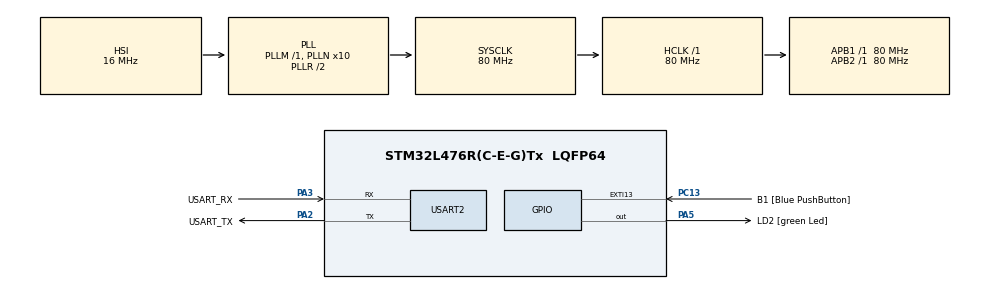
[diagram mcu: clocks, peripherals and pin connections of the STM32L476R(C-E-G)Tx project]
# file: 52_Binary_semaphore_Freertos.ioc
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FREERTOS.Tasks01=defaultTask,0,128,StartDefaultTask,Default,NULL,Dynamic,NULL,NULL
Mcu.Family=STM32L4
Mcu.Name=STM32L476R(C-E-G)Tx
Mcu.Package=LQFP64
NVIC.PriorityGroup=NVIC_PRIORITYGROUP_4
PA13\ (JTMS-SWDIO).GPIO_Label=TMS
PA13\ (JTMS-SWDIO).Mode=Serial_Wire
PA13\ (JTMS-SWDIO).Signal=SYS_JTMS-SWDIO
PA14\ (JTCK-SWCLK).GPIO_Label=TCK
PA14\ (JTCK-SWCLK).Mode=Serial_Wire
PA14\ (JTCK-SWCLK).Signal=SYS_JTCK-SWCLK
PA2.GPIO_Label=USART_TX
PA2.GPIO_Mode=GPIO_MODE_AF_PP
PA2.GPIO_PuPd=GPIO_NOPULL
PA2.GPIO_Speed=GPIO_SPEED_FREQ_VERY_HIGH
PA2.Mode=Asynchronous
PA2.Signal=USART2_TX
PA3.GPIO_Label=USART_RX
PA3.GPIO_Mode=GPIO_MODE_AF_PP
PA3.GPIO_PuPd=GPIO_NOPULL
PA3.GPIO_Speed=GPIO_SPEED_FREQ_VERY_HIGH
PA3.Mode=Asynchronous
PA3.Signal=USART2_RX
PA5.GPIO_Label=LD2 [green Led]
PA5.GPIO_ModeDefaultOutputPP=GPIO_MODE_OUTPUT_PP
PA5.GPIO_PuPd=GPIO_NOPULL
PA5.GPIO_Speed=GPIO_SPEED_FREQ_LOW
PA5.Signal=GPIO_Output
PB3\ (JTDO-TRACESWO).GPIO_Label=SWO
PB3\ (JTDO-TRACESWO).Signal=SYS_JTDO-SWO
PC13.GPIO_Label=B1 [Blue PushButton]
PC13.GPIO_ModeDefaultEXTI=GPIO_MODE_IT_FALLING
PC13.GPIO_PuPd=GPIO_NOPULL
PC13.Signal=GPXTI13
PC14-OSC32_IN\ (PC14).Mode=LSE-External-Oscillator
PC14-OSC32_IN\ (PC14).Signal=RCC_OSC32_IN
PC15-OSC32_OUT\ (PC15).Mode=LSE-External-Oscillator
PC15-OSC32_OUT\ (PC15).Signal=RCC_OSC32_OUT
PH0-OSC_IN\ (PH0).Signal=RCC_OSC_IN
PH1-OSC_OUT\ (PH1).Signal=RCC_OSC_OUT
ProjectManager.HeapSize=0x200
ProjectManager.StackSize=0x400
ProjectManager.TargetToolchain=STM32CubeIDE
RCC.ADCFreq_Value=64000000
RCC.AHBFreq_Value=80000000
RCC.APB1Freq_Value=80000000
RCC.APB1TimFreq_Value=80000000
RCC.APB2Freq_Value=80000000
RCC.APB2TimFreq_Value=80000000
RCC.CortexFreq_Value=80000000
RCC.HCLKFreq_Value=80000000
RCC.HSE_VALUE=8000000
RCC.HSI_VALUE=16000000
RCC.MSI_VALUE=4000000
RCC.PLLN=10
RCC.PLLSourceVirtual=RCC_PLLSOURCE_HSI
RCC.PREFETCH_ENABLE=1
RCC.SYSCLKFreq_VALUE=80000000
RCC.SYSCLKSource=RCC_SYSCLKSOURCE_PLLCLK
RCC.USBFreq_Value=64000000
RCC.VCOOutputFreq_Value=160000000
USART2.VirtualMode-Asynchronous=VM_ASYNC
VP_FREERTOS_VS_CMSIS_V1.Mode=CMSIS_V1
board=NUCLEO-L476RG

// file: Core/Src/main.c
/* USER CODE BEGIN Header */
/**
  ******************************************************************************
  * @file           : main.c
  * @brief          : Main program body
  ******************************************************************************
  * @attention
  *
  * Copyright (c) 2025 STMicroelectronics.
  * All rights reserved.
  *
  * This software is licensed under terms that can be found in the LICENSE file
  * in the root directory of this software component.
  * If no LICENSE file comes with this software, it is provided AS-IS.
  *
  ******************************************************************************
  */
/* USER CODE END Header */
#include "main.h"
#include "cmsis_os.h"

/* USER CODE BEGIN Includes */
#include<stdio.h>
#include<stdarg.h>
#include<stdlib.h>
#include <time.h>
/* USER CODE END Includes */

UART_HandleTypeDef huart2;

osThreadId defaultTaskHandle;

void SystemClock_Config(void);
static void MX_GPIO_Init(void);
static void MX_USART2_UART_Init(void);
void StartDefaultTask(void const * argument);

/* USER CODE BEGIN PFP */
static void Teacher_Task(void *paramps);
static void student_Task(void *paramps);
void debug_printf(const char *fmt, ...)
{
	char buffer[256];
	va_list args;
	va_start(args, fmt);
	vsnprintf(buffer, sizeof(buffer), fmt, args);
	va_end(args);
	uint16_t i = 0;
	while(buffer[i] != '\0')
	{
		ITM_SendChar(buffer[i]);
		i++;
	}
}
/* USER CODE END PFP */

/* USER CODE BEGIN 0 */
xSemaphoreHandle xWork;

xQueueHandle  xWorkQueue;
/* USER CODE END 0 */

int main(void)
{

  /* MCU Configuration--------------------------------------------------------*/

  /* Reset of all peripherals, Initializes the Flash interface and the Systick. */
  HAL_Init();

  /* Configure the system clock */
  SystemClock_Config();

  /* Initialize all configured peripherals */
  MX_GPIO_Init();
  MX_USART2_UART_Init();

  /* Create the thread(s) */
  /* definition and creation of defaultTask */
  osThreadDef(defaultTask, StartDefaultTask, osPriorityNormal, 0, 128);
  defaultTaskHandle = osThreadCreate(osThread(defaultTask), NULL);

  /* USER CODE BEGIN RTOS_THREADS */
  /* add threads, ... */
  vSemaphoreCreateBinary(xWork);

  xWorkQueue = xQueueCreate(1,sizeof(unsigned int));
  if((xWork != NULL)&&(xWorkQueue !=NULL))
  {
	  xTaskCreate(Teacher_Task,"teacher_task",200,NULL,3,NULL);
	  xTaskCreate(student_Task,"student_task",200,NULL,2,NULL);

	  vTaskStartScheduler();
  }
  else
  {
	  debug_printf("the Queue/Semaphore created to failed");
  }

  /* USER CODE END RTOS_THREADS */

  /* Start scheduler */
  osKernelStart();

  /* We should never get here as control is now taken by the scheduler */

  /* Infinite loop */
  while (1)
  {

  }
}

void SystemClock_Config(void)
{
  RCC_OscInitTypeDef RCC_OscInitStruct = {0};
  RCC_ClkInitTypeDef RCC_ClkInitStruct = {0};

  /** Configure the main internal regulator output voltage
  */
  if (HAL_PWREx_ControlVoltageScaling(PWR_REGULATOR_VOLTAGE_SCALE1) != HAL_OK)
  {
    Error_Handler();
  }

  /** Initializes the RCC Oscillators according to the specified parameters
  * in the RCC_OscInitTypeDef structure.
  */
  RCC_OscInitStruct.OscillatorType = RCC_OSCILLATORTYPE_HSI;
  RCC_OscInitStruct.HSIState = RCC_HSI_ON;
  RCC_OscInitStruct.HSICalibrationValue = RCC_HSICALIBRATION_DEFAULT;
  RCC_OscInitStruct.PLL.PLLState = RCC_PLL_ON;
  RCC_OscInitStruct.PLL.PLLSource = RCC_PLLSOURCE_HSI;
  RCC_OscInitStruct.PLL.PLLM = 1;
  RCC_OscInitStruct.PLL.PLLN = 10;
  RCC_OscInitStruct.PLL.PLLP = RCC_PLLP_DIV7;
  RCC_OscInitStruct.PLL.PLLQ = RCC_PLLQ_DIV2;
  RCC_OscInitStruct.PLL.PLLR = RCC_PLLR_DIV2;
  if (HAL_RCC_OscConfig(&RCC_OscInitStruct) != HAL_OK)
  {
    Error_Handler();
  }

  /** Initializes the CPU, AHB and APB buses clocks
  */
  RCC_ClkInitStruct.ClockType = RCC_CLOCKTYPE_HCLK|RCC_CLOCKTYPE_SYSCLK
                              |RCC_CLOCKTYPE_PCLK1|RCC_CLOCKTYPE_PCLK2;
  RCC_ClkInitStruct.SYSCLKSource = RCC_SYSCLKSOURCE_PLLCLK;
  RCC_ClkInitStruct.AHBCLKDivider = RCC_SYSCLK_DIV1;
  RCC_ClkInitStruct.APB1CLKDivider = RCC_HCLK_DIV1;
  RCC_ClkInitStruct.APB2CLKDivider = RCC_HCLK_DIV1;

  if (HAL_RCC_ClockConfig(&RCC_ClkInitStruct, FLASH_LATENCY_4) != HAL_OK)
  {
    Error_Handler();
  }
}

static void MX_USART2_UART_Init(void)
{

  huart2.Instance = USART2;
  huart2.Init.BaudRate = 115200;
  huart2.Init.WordLength = UART_WORDLENGTH_8B;
  huart2.Init.StopBits = UART_STOPBITS_1;
  huart2.Init.Parity = UART_PARITY_NONE;
  huart2.Init.Mode = UART_MODE_TX_RX;
  huart2.Init.HwFlowCtl = UART_HWCONTROL_NONE;
  huart2.Init.OverSampling = UART_OVERSAMPLING_16;
  huart2.Init.OneBitSampling = UART_ONE_BIT_SAMPLE_DISABLE;
  huart2.AdvancedInit.AdvFeatureInit = UART_ADVFEATURE_NO_INIT;
  if (HAL_UART_Init(&huart2) != HAL_OK)
  {
    Error_Handler();
  }

}

static void MX_GPIO_Init(void)
{
  GPIO_InitTypeDef GPIO_InitStruct = {0};

  /* GPIO Ports Clock Enable */
  __HAL_RCC_GPIOC_CLK_ENABLE();
  __HAL_RCC_GPIOH_CLK_ENABLE();
  __HAL_RCC_GPIOA_CLK_ENABLE();
  __HAL_RCC_GPIOB_CLK_ENABLE();

  /*Configure GPIO pin Output Level */
  HAL_GPIO_WritePin(LD2_GPIO_Port, LD2_Pin, GPIO_PIN_RESET);

  /*Configure GPIO pin : B1_Pin */
  GPIO_InitStruct.Pin = B1_Pin;
  GPIO_InitStruct.Mode = GPIO_MODE_IT_FALLING;
  GPIO_InitStruct.Pull = GPIO_NOPULL;
  HAL_GPIO_Init(B1_GPIO_Port, &GPIO_InitStruct);

  /*Configure GPIO pin : LD2_Pin */
  GPIO_InitStruct.Pin = LD2_Pin;
  GPIO_InitStruct.Mode = GPIO_MODE_OUTPUT_PP;
  GPIO_InitStruct.Pull = GPIO_NOPULL;
  GPIO_InitStruct.Speed = GPIO_SPEED_FREQ_LOW;
  HAL_GPIO_Init(LD2_GPIO_Port, &GPIO_InitStruct);

}

/* USER CODE BEGIN 4 */
void DoWork(unsigned int ticket)
{
	debug_printf("student task : Working on Ticket Id: %d\r\n",ticket);
	vTaskDelay(ticket);
}
void Teacher_Task(void *paramps)
{
	unsigned int xWorkTicketId;
	portBASE_TYPE xStatus;
	srand(time(NULL));
	xSemaphoreGive(xWork);
	while(1)
	{
		xWorkTicketId = (rand()&0x1f);
		xStatus = xQueueSend(xWorkQueue,&xWorkTicketId,portMAX_DELAY);

		if(xStatus != pdPASS)
		{
			debug_printf(" not send to the queue\r\n");
		}
		else
		{
			xSemaphoreGive(xWork);
			taskYIELD();
		}
	}
}
void student_Task(void *paramps)
{
	unsigned int xWorkTicketId;
	portBASE_TYPE xStatus;
	while(1)
	{
		xSemaphoreTake(xWork,0);

		xStatus=xQueueReceive(xWorkQueue,&xWorkTicketId , 0);

		if(xStatus == pdPASS)
		{
			DoWork(xWorkTicketId);
		}
		else
		{
			debug_printf(" student task : Queue is empty , nothing to do.\r\n");
		}
	}
}
/* USER CODE END 4 */

void StartDefaultTask(void const * argument)
{
  for(;;)
  {
    osDelay(1);
  }
}

void Error_Handler(void)
{
  __disable_irq();
  while (1)
  {
  }
}
